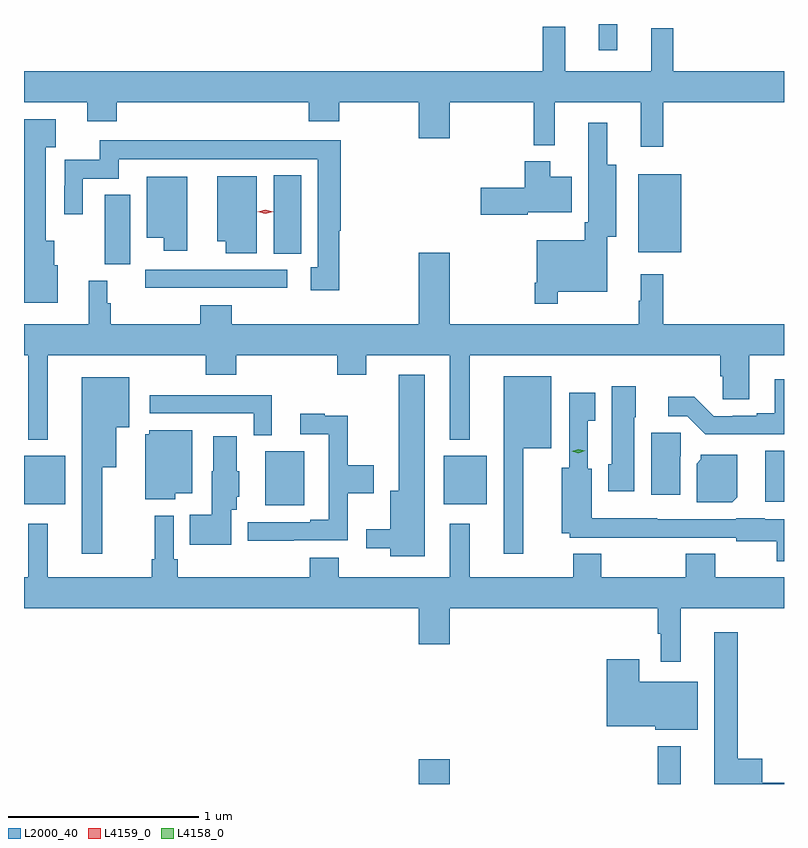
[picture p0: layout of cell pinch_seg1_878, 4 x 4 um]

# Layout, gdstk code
import gdstk
lib = gdstk.Library(unit=1e-6, precision=1e-09)
def R(c, l, rs):  # rectangles x0, y0, x1, y1
    for r in rs: c.add(gdstk.rectangle(r[:2], r[2:], *l))
def P(c, l, *ps):  # polygons
    for p in ps: c.add(gdstk.Polygon(p, *l))
L2000_40 = (2000, 40)
L4158_0 = (4158, 0)
L4159_0 = (4159, 0)

pinch_seg1_878 = lib.new_cell('pinch_seg1_878')
R(pinch_seg1_878, L2000_40, [(572.6,522.836,572.764,522.967), (573.858,522.836,573.979,523.036), (571.793,524.303,571.999,524.587), (570.523,524.309,570.739,524.563), (572.732,524.309,572.959,524.563), (574.424,524.321,574.523,524.59), (571.161,525.447,571.909,525.543), (570.947,525.571,571.081,525.937), (571.838,525.628,571.981,526.04), (573.755,525.635,573.982,526.045), (573.548,526.698,573.645,526.836)])
P(pinch_seg1_878, L2000_40, [(573.887,526.424),(574.523,526.424),(574.523,526.588),(573.941,526.588),(573.941,526.813),(573.824,526.813),(573.824,526.588),(573.371,526.588),(573.371,526.822),(573.253,526.822),(573.253,526.588),(570.523,526.588),(570.523,526.424),(570.857,526.424),(570.857,526.325),(571.01,526.325),(571.01,526.424),(572.021,526.424),(572.021,526.325),(572.181,526.325),(572.181,526.424),(572.6,526.424),(572.6,526.236),(572.764,526.236),(572.764,526.424),(573.207,526.424),(573.207,526.199),(573.317,526.199),(573.317,526.424),(573.77,526.424),(573.77,526.191),(573.887,526.191)],
  [(570.7,525.567),(570.682,525.567),(570.682,525.694),(570.637,525.694),(570.637,526.188),(570.691,526.188),(570.691,526.336),(570.523,526.336),(570.523,525.368),(570.7,525.368)],
  [(573.331,525.428),(573.592,525.428),(573.592,525.716),(573.64,525.716),(573.64,526.096),(573.593,526.096),(573.593,526.315),(573.494,526.315),(573.494,525.793),(573.475,525.793),(573.475,525.697),(573.222,525.697),(573.222,525.475),(573.21,525.475),(573.21,525.363),(573.331,525.363)],
  [(572.183,525.747),(572.191,525.747),(572.191,526.223),(570.922,526.223),(570.922,526.122),(570.738,526.122),(570.738,525.984),(570.735,525.984),(570.735,525.834),(570.831,525.834),(570.831,526.022),(571.021,526.022),(571.021,526.125),(572.069,526.125),(572.069,525.555),(572.033,525.555),(572.033,525.435),(572.183,525.435)],
  [(573.174,525.845),(573.406,525.845),(573.406,526.033),(573.292,526.033),(573.292,526.114),(573.158,526.114),(573.158,525.975),(572.928,525.975),(572.928,525.833),(573.174,525.833)],
  [(571.747,526.036),(571.541,526.036),(571.541,525.692),(571.586,525.692),(571.586,525.63),(571.747,525.63)],
  [(571.381,526.033),(571.169,526.033),(571.169,525.71),(571.259,525.71),(571.259,525.642),(571.381,525.642)],
  [(570.649,525.092),(571.48,525.092),(571.48,524.99),(571.64,524.99),(571.64,525.092),(572.171,525.092),(572.171,524.99),(572.323,524.99),(572.323,525.092),(572.765,525.092),(572.765,524.648),(572.869,524.648),(572.869,525.092),(574.187,525.092),(574.187,524.982),(574.2,524.982),(574.2,524.86),(574.339,524.86),(574.339,525.092),(574.523,525.092),(574.523,525.256),(573.887,525.256),(573.887,525.52),(573.77,525.52),(573.77,525.38),(573.759,525.38),(573.759,525.256),(572.764,525.256),(572.764,525.631),(572.6,525.631),(572.6,525.256),(571.616,525.256),(571.616,525.355),(571.451,525.355),(571.451,525.256),(570.98,525.256),(570.98,525.365),(570.962,525.365),(570.962,525.486),(570.863,525.486),(570.863,525.256),(570.523,525.256),(570.523,525.092),(570.545,525.092),(570.545,524.648),(570.649,524.648)],
  [(572.632,524.989),(572.495,524.989),(572.495,524.38),(572.45,524.38),(572.45,524.177),(572.325,524.177),(572.325,524.078),(572.45,524.078),(572.45,524.036),(572.632,524.036)],
  [(573.151,524.603),(573.298,524.603),(573.298,524.983),(573.047,524.983),(573.047,524.049),(573.151,524.049)],
  [(570.934,524.504),(571.009,524.504),(571.009,524.714),(571.078,524.714),(571.078,524.977),(570.827,524.977),(570.827,524.049),(570.934,524.049)],
  [(574.523,524.965),(574.475,524.965),(574.475,524.788),(574.379,524.788),(574.379,524.775),(574.252,524.775),(574.252,524.772),(574.152,524.772),(574.05,524.875),(573.915,524.875),(573.915,524.772),(574.014,524.772),(574.108,524.678),(574.523,524.678)],
  [(573.736,524.766),(573.742,524.766),(573.742,524.929),(573.617,524.929),(573.617,524.52),(573.599,524.52),(573.599,524.376),(573.736,524.376)],
  [(574.523,524.23),(574.422,524.23),(574.422,524.236),(574.272,524.236),(574.272,524.229),(573.855,524.229),(573.855,524.236),(573.511,524.236),(573.511,524.496),(573.489,524.496),(573.489,524.747),(573.529,524.747),(573.529,524.896),(573.393,524.896),(573.393,524.5),(573.353,524.5),(573.353,524.156),(573.396,524.156),(573.396,524.133),(573.623,524.133),(573.623,524.132),(573.855,524.132),(573.855,524.133),(574.272,524.133),(574.272,524.114),(574.485,524.114),(574.485,524.009),(574.523,524.009)],
  [(571.828,524.883),(571.185,524.883),(571.185,524.787),(571.731,524.787),(571.731,524.672),(571.828,524.672)],
  [(571.943,524.118),(572.226,524.118),(572.226,524.366),(572.365,524.366),(572.365,524.514),(572.228,524.514),(572.228,524.774),(572.105,524.774),(572.105,524.785),(571.977,524.785),(571.977,524.676),(572.127,524.676),(572.127,524.227),(572.03,524.227),(572.03,524.214),(571.701,524.214),(571.701,524.117),(571.943,524.117)],
  [(571.318,524.366),(571.408,524.366),(571.408,524.698),(571.182,524.698),(571.182,524.676),(571.16,524.676),(571.16,524.336),(571.318,524.336)],
  [(573.976,524.562),(573.98,524.562),(573.98,524.685),(573.824,524.685),(573.824,524.358),(573.976,524.358)],
  [(571.615,524.28),(571.642,524.28),(571.642,524.349),(571.657,524.349),(571.657,524.481),(571.642,524.481),(571.642,524.665),(571.52,524.665),(571.52,524.481),(571.511,524.481),(571.511,524.254),(571.396,524.254),(571.396,524.096),(571.615,524.096)],
  [(574.276,524.344),(574.276,524.569),(574.086,524.569),(574.086,524.544),(574.064,524.522),(574.064,524.318),(574.25,524.318)],
  [(573.979,523.76),(574.523,523.76),(574.523,523.924),(574.161,523.924),(574.161,524.048),(574.006,524.048),(574.006,523.924),(573.561,523.924),(573.561,524.048),(573.413,524.048),(573.413,523.924),(572.869,523.924),(572.869,524.206),(572.765,524.206),(572.765,523.924),(572.179,523.924),(572.179,524.026),(572.027,524.026),(572.027,523.924),(571.331,523.924),(571.331,524.02),(571.311,524.02),(571.311,524.248),(571.21,524.248),(571.21,524.02),(571.195,524.02),(571.195,523.924),(570.649,523.924),(570.649,524.206),(570.545,524.206),(570.545,523.924),(570.523,523.924),(570.523,523.76),(572.6,523.76),(572.6,523.572),(572.764,523.572),(572.764,523.76),(573.858,523.76),(573.858,523.628),(573.875,523.628),(573.875,523.479),(573.979,523.479)],
  [(574.523,522.842),(574.408,522.842),(574.408,522.97),(574.279,522.97),(574.279,523.636),(574.157,523.636),(574.157,522.836),(574.523,522.836)],
  [(574.069,523.375),(573.76,523.375),(573.76,523.492),(573.59,523.492),(573.59,523.139),(573.846,523.139),(573.846,523.121),(574.069,523.121)])
P(pinch_seg1_878, L4158_0, [(573.441,524.578),(573.405,524.587),(573.405,524.587),(573.405,524.587),(573.441,524.598),(573.477,524.59),(573.477,524.59),(573.477,524.589)])
P(pinch_seg1_878, L4159_0, [(571.793,525.838),(571.752,525.848),(571.752,525.848),(571.752,525.848),(571.793,525.858),(571.834,525.848),(571.834,525.848),(571.834,525.847)])

lib.write_gds('pinch_seg1_878.gds')
